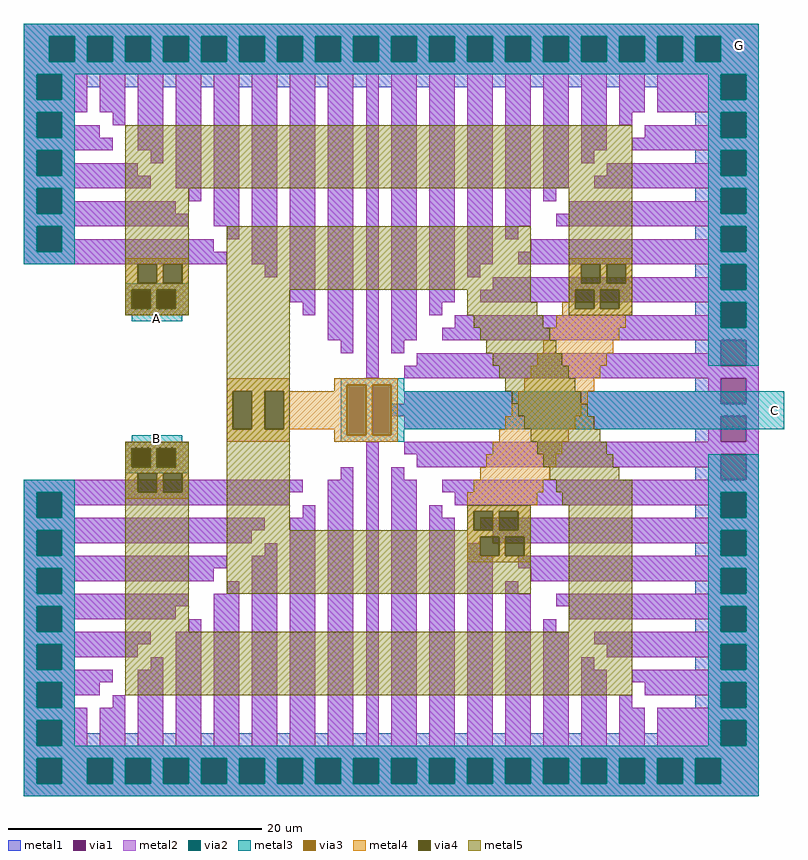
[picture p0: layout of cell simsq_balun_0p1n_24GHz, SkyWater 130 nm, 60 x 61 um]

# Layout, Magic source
magic
tech sky130B
<< metal1 >>
rect -1000 4600 4800 4700
rect -1000 4400 -800 4600
rect -600 4400 -500 4600
rect -300 4400 -200 4600
rect 0 4400 100 4600
rect 300 4400 400 4600
rect 600 4400 700 4600
rect 900 4400 1000 4600
rect 1200 4400 1300 4600
rect 1500 4400 1600 4600
rect 1800 4400 1900 4600
rect 2100 4400 2200 4600
rect 2400 4400 2500 4600
rect 2700 4400 2800 4600
rect 3000 4400 3100 4600
rect 3300 4400 3400 4600
rect 3600 4400 3700 4600
rect 3900 4400 4000 4600
rect 4200 4400 4300 4600
rect 4500 4400 4800 4600
rect -1000 4300 4800 4400
rect -1000 4100 -900 4300
rect -700 4200 4500 4300
rect -700 4100 -500 4200
rect -1000 4000 -500 4100
rect -400 4000 -200 4200
rect -1000 3800 -900 4000
rect -700 3900 -600 4000
rect -300 3900 -200 4000
rect -700 3800 -400 3900
rect -1000 3700 -300 3800
rect -100 3700 100 4200
rect -1000 3500 -900 3700
rect -700 3600 -600 3700
rect 0 3600 100 3700
rect -700 3500 -100 3600
rect -1000 3400 0 3500
rect 200 3400 400 4200
rect -1000 3200 -900 3400
rect -700 3300 -600 3400
rect 300 3300 400 3400
rect -700 3200 200 3300
rect -1000 3100 300 3200
rect 500 3100 700 4200
rect -1000 2900 -900 3100
rect -700 3000 -600 3100
rect 600 3000 700 3100
rect -700 2900 500 3000
rect -1000 2800 600 2900
rect 800 2800 1000 4200
rect 900 2700 1000 2800
rect 1100 2500 1300 4200
rect 1200 2400 1300 2500
rect 1400 2200 1600 4200
rect 1500 2100 1600 2200
rect 1700 1900 1800 4200
rect 1900 2200 2100 4200
rect 2200 2500 2400 4200
rect 2500 2800 2700 4200
rect 2800 3100 3000 4200
rect 3100 3400 3300 4200
rect 3400 3700 3600 4200
rect 3700 4000 3900 4200
rect 4000 4100 4500 4200
rect 4700 4100 4800 4300
rect 4000 4000 4800 4100
rect 3700 3900 3800 4000
rect 4300 3900 4500 4000
rect 3900 3800 4500 3900
rect 4700 3800 4800 4000
rect 3800 3700 4800 3800
rect 3400 3600 3500 3700
rect 4300 3600 4500 3700
rect 3600 3500 4500 3600
rect 4700 3500 4800 3700
rect 3500 3400 4800 3500
rect 3100 3300 3200 3400
rect 4300 3300 4500 3400
rect 3300 3200 4500 3300
rect 4700 3200 4800 3400
rect 3200 3100 4800 3200
rect 2800 3000 2900 3100
rect 4300 3000 4500 3100
rect 3000 2900 4500 3000
rect 4700 2900 4800 3100
rect 2900 2800 4800 2900
rect 2500 2700 2600 2800
rect 4300 2700 4500 2800
rect 2700 2600 4500 2700
rect 4700 2600 4800 2800
rect 2600 2500 4800 2600
rect 2200 2400 2300 2500
rect 4300 2400 4500 2500
rect 2400 2300 4500 2400
rect 4700 2300 4800 2500
rect 2300 2200 4800 2300
rect 1900 2100 2000 2200
rect 4300 2100 4500 2200
rect 2100 2000 4500 2100
rect 4700 2000 4800 2200
rect 2000 1900 4800 2000
rect 4300 1800 4500 1900
rect 2000 1700 4500 1800
rect 4700 1700 4800 1900
rect 1900 1600 4800 1700
rect 2000 1500 4500 1600
rect 4300 1400 4500 1500
rect 4700 1400 4800 1600
rect 1500 1100 1600 1200
rect -1000 1000 1200 1100
rect -1000 800 -900 1000
rect -700 900 1100 1000
rect -700 800 -600 900
rect 1200 800 1300 900
rect -1000 700 900 800
rect -1000 500 -900 700
rect -700 600 800 700
rect -700 500 -600 600
rect 900 500 1000 600
rect -1000 400 600 500
rect -1000 200 -900 400
rect -700 300 500 400
rect -700 200 -600 300
rect 600 200 700 300
rect -1000 100 300 200
rect -1000 -100 -900 100
rect -700 0 200 100
rect -700 -100 -600 0
rect 300 -100 400 0
rect -1000 -200 0 -100
rect -1000 -400 -900 -200
rect -700 -300 -100 -200
rect -700 -400 -600 -300
rect 0 -400 100 -300
rect -1000 -500 -300 -400
rect -1000 -700 -900 -500
rect -700 -600 -400 -500
rect -700 -700 -600 -600
rect -300 -700 -200 -600
rect -1000 -800 -500 -700
rect -1000 -1000 -900 -800
rect -700 -900 -500 -800
rect -400 -900 -200 -700
rect -100 -900 100 -400
rect 200 -900 400 -100
rect 500 -900 700 200
rect 800 -900 1000 500
rect 1100 -900 1300 800
rect 1400 -900 1600 1100
rect 1700 -900 1800 1400
rect 2000 1300 4800 1400
rect 2100 1200 4500 1300
rect 1900 1100 2000 1200
rect 4300 1100 4500 1200
rect 4700 1100 4800 1300
rect 1900 -900 2100 1100
rect 2300 1000 4800 1100
rect 2400 900 4500 1000
rect 2200 800 2300 900
rect 4300 800 4500 900
rect 4700 800 4800 1000
rect 2200 -900 2400 800
rect 2600 700 4800 800
rect 2700 600 4500 700
rect 2500 500 2600 600
rect 4300 500 4500 600
rect 4700 500 4800 700
rect 2500 -900 2700 500
rect 2900 400 4800 500
rect 3000 300 4500 400
rect 2800 200 2900 300
rect 4300 200 4500 300
rect 4700 200 4800 400
rect 2800 -900 3000 200
rect 3200 100 4800 200
rect 3300 0 4500 100
rect 3100 -100 3200 0
rect 4300 -100 4500 0
rect 4700 -100 4800 100
rect 3100 -900 3300 -100
rect 3500 -200 4800 -100
rect 3600 -300 4500 -200
rect 3400 -400 3500 -300
rect 4300 -400 4500 -300
rect 4700 -400 4800 -200
rect 3400 -900 3600 -400
rect 3800 -500 4800 -400
rect 3900 -600 4500 -500
rect 3700 -700 3800 -600
rect 4300 -700 4500 -600
rect 4700 -700 4800 -500
rect 3700 -900 3900 -700
rect 4000 -800 4800 -700
rect 4000 -900 4500 -800
rect -700 -1000 4500 -900
rect 4700 -1000 4800 -800
rect -1000 -1100 4800 -1000
rect -1000 -1300 -900 -1100
rect -700 -1300 -500 -1100
rect -300 -1300 -200 -1100
rect 0 -1300 100 -1100
rect 300 -1300 400 -1100
rect 600 -1300 700 -1100
rect 900 -1300 1000 -1100
rect 1200 -1300 1300 -1100
rect 1500 -1300 1600 -1100
rect 1800 -1300 1900 -1100
rect 2100 -1300 2200 -1100
rect 2400 -1300 2500 -1100
rect 2700 -1300 2800 -1100
rect 3000 -1300 3100 -1100
rect 3300 -1300 3400 -1100
rect 3600 -1300 3700 -1100
rect 3900 -1300 4000 -1100
rect 4200 -1300 4300 -1100
rect 4500 -1300 4800 -1100
rect -1000 -1400 4800 -1300
<< via1 >>
rect -800 4400 -600 4600
rect -500 4400 -300 4600
rect -200 4400 0 4600
rect 100 4400 300 4600
rect 400 4400 600 4600
rect 700 4400 900 4600
rect 1000 4400 1200 4600
rect 1300 4400 1500 4600
rect 1600 4400 1800 4600
rect 1900 4400 2100 4600
rect 2200 4400 2400 4600
rect 2500 4400 2700 4600
rect 2800 4400 3000 4600
rect 3100 4400 3300 4600
rect 3400 4400 3600 4600
rect 3700 4400 3900 4600
rect 4000 4400 4200 4600
rect 4300 4400 4500 4600
rect -900 4100 -700 4300
rect -900 3800 -700 4000
rect -900 3500 -700 3700
rect -900 3200 -700 3400
rect -900 2900 -700 3100
rect 4500 4100 4700 4300
rect 4500 3800 4700 4000
rect 4500 3500 4700 3700
rect 4500 3200 4700 3400
rect 4500 2900 4700 3100
rect 4500 2600 4700 2800
rect 4500 2300 4700 2500
rect 4500 2000 4700 2200
rect 4500 1700 4700 1900
rect 4500 1400 4700 1600
rect -900 800 -700 1000
rect -900 500 -700 700
rect -900 200 -700 400
rect -900 -100 -700 100
rect -900 -400 -700 -200
rect -900 -700 -700 -500
rect -900 -1000 -700 -800
rect 4500 1100 4700 1300
rect 4500 800 4700 1000
rect 4500 500 4700 700
rect 4500 200 4700 400
rect 4500 -100 4700 100
rect 4500 -400 4700 -200
rect 4500 -700 4700 -500
rect 4500 -1000 4700 -800
rect -900 -1300 -700 -1100
rect -500 -1300 -300 -1100
rect -200 -1300 0 -1100
rect 100 -1300 300 -1100
rect 400 -1300 600 -1100
rect 700 -1300 900 -1100
rect 1000 -1300 1200 -1100
rect 1300 -1300 1500 -1100
rect 1600 -1300 1800 -1100
rect 1900 -1300 2100 -1100
rect 2200 -1300 2400 -1100
rect 2500 -1300 2700 -1100
rect 2800 -1300 3000 -1100
rect 3100 -1300 3300 -1100
rect 3400 -1300 3600 -1100
rect 3700 -1300 3900 -1100
rect 4000 -1300 4200 -1100
rect 4300 -1300 4500 -1100
<< metal2 >>
rect -1000 4600 4800 4700
rect -1000 4400 -800 4600
rect -600 4400 -500 4600
rect -300 4400 -200 4600
rect 0 4400 100 4600
rect 300 4400 400 4600
rect 600 4400 700 4600
rect 900 4400 1000 4600
rect 1200 4400 1300 4600
rect 1500 4400 1600 4600
rect 1800 4400 1900 4600
rect 2100 4400 2200 4600
rect 2400 4400 2500 4600
rect 2700 4400 2800 4600
rect 3000 4400 3100 4600
rect 3300 4400 3400 4600
rect 3600 4400 3700 4600
rect 3900 4400 4000 4600
rect 4200 4400 4300 4600
rect 4500 4400 4800 4600
rect -1000 4300 4800 4400
rect -1000 4100 -900 4300
rect -700 4100 -500 4300
rect -1000 4000 -500 4100
rect -400 4000 -200 4300
rect -1000 3800 -900 4000
rect -700 3900 -600 4000
rect -300 3900 -200 4000
rect -700 3800 -400 3900
rect -1000 3700 -300 3800
rect -100 3700 100 4300
rect -1000 3500 -900 3700
rect -700 3600 -600 3700
rect 0 3600 100 3700
rect -700 3500 -100 3600
rect -1000 3400 0 3500
rect 200 3400 400 4300
rect -1000 3200 -900 3400
rect -700 3300 -600 3400
rect 300 3300 400 3400
rect -700 3200 200 3300
rect -1000 3100 300 3200
rect 500 3100 700 4300
rect -1000 2900 -900 3100
rect -700 3000 -600 3100
rect 600 3000 700 3100
rect -700 2900 500 3000
rect -1000 2800 600 2900
rect 800 2800 1000 4300
rect 900 2700 1000 2800
rect 1100 2500 1300 4300
rect 1200 2400 1300 2500
rect 1400 2200 1600 4300
rect 1500 2100 1600 2200
rect 1700 1900 1800 4300
rect 1900 2200 2100 4300
rect 2200 2500 2400 4300
rect 2500 2800 2700 4300
rect 2800 3100 3000 4300
rect 3100 3400 3300 4300
rect 3400 3700 3600 4300
rect 3700 4000 3900 4300
rect 4000 4100 4500 4300
rect 4700 4100 4800 4300
rect 4000 4000 4800 4100
rect 3700 3900 3800 4000
rect 4400 3900 4500 4000
rect 3900 3800 4500 3900
rect 4700 3800 4800 4000
rect 3800 3700 4800 3800
rect 3400 3600 3500 3700
rect 4400 3600 4500 3700
rect 3600 3500 4500 3600
rect 4700 3500 4800 3700
rect 3500 3400 4800 3500
rect 3100 3300 3200 3400
rect 4400 3300 4500 3400
rect 3300 3200 4500 3300
rect 4700 3200 4800 3400
rect 3200 3100 4800 3200
rect 2800 3000 2900 3100
rect 4400 3000 4500 3100
rect 3000 2900 4500 3000
rect 4700 2900 4800 3100
rect 2900 2800 4800 2900
rect 2500 2700 2600 2800
rect 4400 2700 4500 2800
rect 2700 2600 4500 2700
rect 4700 2600 4800 2800
rect 2600 2500 4800 2600
rect 2200 2400 2300 2500
rect 4400 2400 4500 2500
rect 2400 2300 4500 2400
rect 4700 2300 4800 2500
rect 2300 2200 4800 2300
rect 1900 2100 2000 2200
rect 4400 2100 4500 2200
rect 2100 2000 4500 2100
rect 4700 2000 4800 2200
rect 2000 1900 4800 2000
rect 4400 1800 4500 1900
rect 2000 1700 4500 1800
rect 4700 1700 4800 1900
rect 1900 1600 4800 1700
rect 2000 1500 4500 1600
rect 4400 1400 4500 1500
rect 4700 1400 4800 1600
rect 1500 1100 1600 1200
rect -1000 1000 1200 1100
rect -1000 800 -900 1000
rect -700 900 1100 1000
rect -700 800 -600 900
rect 1200 800 1300 900
rect -1000 700 900 800
rect -1000 500 -900 700
rect -700 600 800 700
rect -700 500 -600 600
rect 900 500 1000 600
rect -1000 400 600 500
rect -1000 200 -900 400
rect -700 300 500 400
rect -700 200 -600 300
rect 600 200 700 300
rect -1000 100 300 200
rect -1000 -100 -900 100
rect -700 0 200 100
rect -700 -100 -600 0
rect 300 -100 400 0
rect -1000 -200 0 -100
rect -1000 -400 -900 -200
rect -700 -300 -100 -200
rect -700 -400 -600 -300
rect 0 -400 100 -300
rect -1000 -500 -300 -400
rect -1000 -700 -900 -500
rect -700 -600 -400 -500
rect -700 -700 -600 -600
rect -300 -700 -200 -600
rect -1000 -800 -500 -700
rect -1000 -1000 -900 -800
rect -700 -1000 -500 -800
rect -400 -1000 -200 -700
rect -100 -1000 100 -400
rect 200 -1000 400 -100
rect 500 -1000 700 200
rect 800 -1000 1000 500
rect 1100 -1000 1300 800
rect 1400 -1000 1600 1100
rect 1700 -1000 1800 1400
rect 2000 1300 4800 1400
rect 2100 1200 4500 1300
rect 1900 1100 2000 1200
rect 4400 1100 4500 1200
rect 4700 1100 4800 1300
rect 1900 -1000 2100 1100
rect 2300 1000 4800 1100
rect 2400 900 4500 1000
rect 2200 800 2300 900
rect 4400 800 4500 900
rect 4700 800 4800 1000
rect 2200 -1000 2400 800
rect 2600 700 4800 800
rect 2700 600 4500 700
rect 2500 500 2600 600
rect 4400 500 4500 600
rect 4700 500 4800 700
rect 2500 -1000 2700 500
rect 2900 400 4800 500
rect 3000 300 4500 400
rect 2800 200 2900 300
rect 4400 200 4500 300
rect 4700 200 4800 400
rect 2800 -1000 3000 200
rect 3200 100 4800 200
rect 3300 0 4500 100
rect 3100 -100 3200 0
rect 4400 -100 4500 0
rect 4700 -100 4800 100
rect 3100 -1000 3300 -100
rect 3500 -200 4800 -100
rect 3600 -300 4500 -200
rect 3400 -400 3500 -300
rect 4400 -400 4500 -300
rect 4700 -400 4800 -200
rect 3400 -1000 3600 -400
rect 3800 -500 4800 -400
rect 3900 -600 4500 -500
rect 3700 -700 3800 -600
rect 4400 -700 4500 -600
rect 4700 -700 4800 -500
rect 3700 -1000 3900 -700
rect 4000 -800 4800 -700
rect 4000 -1000 4500 -800
rect 4700 -1000 4800 -800
rect -1000 -1100 4800 -1000
rect -1000 -1300 -900 -1100
rect -700 -1300 -500 -1100
rect -300 -1300 -200 -1100
rect 0 -1300 100 -1100
rect 300 -1300 400 -1100
rect 600 -1300 700 -1100
rect 900 -1300 1000 -1100
rect 1200 -1300 1300 -1100
rect 1500 -1300 1600 -1100
rect 1800 -1300 1900 -1100
rect 2100 -1300 2200 -1100
rect 2400 -1300 2500 -1100
rect 2700 -1300 2800 -1100
rect 3000 -1300 3100 -1100
rect 3300 -1300 3400 -1100
rect 3600 -1300 3700 -1100
rect 3900 -1300 4000 -1100
rect 4200 -1300 4300 -1100
rect 4500 -1300 4800 -1100
rect -1000 -1400 4800 -1300
<< via2 >>
rect -800 4400 -600 4600
rect -500 4400 -300 4600
rect -200 4400 0 4600
rect 100 4400 300 4600
rect 400 4400 600 4600
rect 700 4400 900 4600
rect 1000 4400 1200 4600
rect 1300 4400 1500 4600
rect 1600 4400 1800 4600
rect 1900 4400 2100 4600
rect 2200 4400 2400 4600
rect 2500 4400 2700 4600
rect 2800 4400 3000 4600
rect 3100 4400 3300 4600
rect 3400 4400 3600 4600
rect 3700 4400 3900 4600
rect 4000 4400 4200 4600
rect 4300 4400 4500 4600
rect -900 4100 -700 4300
rect -900 3800 -700 4000
rect -900 3500 -700 3700
rect -900 3200 -700 3400
rect -900 2900 -700 3100
rect 4500 4100 4700 4300
rect 4500 3800 4700 4000
rect 4500 3500 4700 3700
rect 4500 3200 4700 3400
rect 4500 2900 4700 3100
rect 4500 2600 4700 2800
rect 4500 2300 4700 2500
rect -900 800 -700 1000
rect -900 500 -700 700
rect -900 200 -700 400
rect -900 -100 -700 100
rect -900 -400 -700 -200
rect -900 -700 -700 -500
rect -900 -1000 -700 -800
rect 4500 800 4700 1000
rect 4500 500 4700 700
rect 4500 200 4700 400
rect 4500 -100 4700 100
rect 4500 -400 4700 -200
rect 4500 -700 4700 -500
rect 4500 -1000 4700 -800
rect -900 -1300 -700 -1100
rect -500 -1300 -300 -1100
rect -200 -1300 0 -1100
rect 100 -1300 300 -1100
rect 400 -1300 600 -1100
rect 700 -1300 900 -1100
rect 1000 -1300 1200 -1100
rect 1300 -1300 1500 -1100
rect 1600 -1300 1800 -1100
rect 1900 -1300 2100 -1100
rect 2200 -1300 2400 -1100
rect 2500 -1300 2700 -1100
rect 2800 -1300 3000 -1100
rect 3100 -1300 3300 -1100
rect 3400 -1300 3600 -1100
rect 3700 -1300 3900 -1100
rect 4000 -1300 4200 -1100
rect 4300 -1300 4500 -1100
<< metal3 >>
rect -1000 4600 4800 4700
rect -1000 4400 -800 4600
rect -600 4400 -500 4600
rect -300 4400 -200 4600
rect 0 4400 100 4600
rect 300 4400 400 4600
rect 600 4400 700 4600
rect 900 4400 1000 4600
rect 1200 4400 1300 4600
rect 1500 4400 1600 4600
rect 1800 4400 1900 4600
rect 2100 4400 2200 4600
rect 2400 4400 2500 4600
rect 2700 4400 2800 4600
rect 3000 4400 3100 4600
rect 3300 4400 3400 4600
rect 3600 4400 3700 4600
rect 3900 4400 4000 4600
rect 4200 4400 4300 4600
rect 4500 4400 4800 4600
rect -1000 4300 4800 4400
rect -1000 4100 -900 4300
rect -700 4100 -600 4300
rect -1000 4000 -600 4100
rect -1000 3800 -900 4000
rect -700 3800 -600 4000
rect -1000 3700 -600 3800
rect -1000 3500 -900 3700
rect -700 3500 -600 3700
rect -1000 3400 -600 3500
rect -1000 3200 -900 3400
rect -700 3200 -600 3400
rect -1000 3100 -600 3200
rect -1000 2900 -900 3100
rect -700 2900 -600 3100
rect -1000 2800 -600 2900
rect 4400 4100 4500 4300
rect 4700 4100 4800 4300
rect 4400 4000 4800 4100
rect 4400 3800 4500 4000
rect 4700 3800 4800 4000
rect 4400 3700 4800 3800
rect 4400 3500 4500 3700
rect 4700 3500 4800 3700
rect 4400 3400 4800 3500
rect 4400 3200 4500 3400
rect 4700 3200 4800 3400
rect 4400 3100 4800 3200
rect 4400 2900 4500 3100
rect 4700 2900 4800 3100
rect 4400 2800 4800 2900
rect -200 2600 300 2650
rect -200 2450 -150 2600
rect 0 2450 50 2600
rect 200 2450 300 2600
rect -200 2400 300 2450
rect 4400 2600 4500 2800
rect 4700 2600 4800 2800
rect 4400 2500 4800 2600
rect -150 2350 250 2400
rect 4400 2300 4500 2500
rect 4700 2300 4800 2500
rect 4400 2000 4800 2300
rect 1500 1850 2000 1900
rect 1500 1450 1550 1850
rect 1700 1450 1750 1850
rect 1900 1800 2000 1850
rect 1900 1500 5000 1800
rect 1900 1450 2000 1500
rect -150 1400 250 1450
rect 1500 1400 2000 1450
rect -200 1350 300 1400
rect -200 1200 -150 1350
rect 0 1200 50 1350
rect 200 1200 300 1350
rect -200 1150 300 1200
rect -1000 1000 -600 1100
rect -1000 800 -900 1000
rect -700 800 -600 1000
rect -1000 700 -600 800
rect -1000 500 -900 700
rect -700 500 -600 700
rect -1000 400 -600 500
rect -1000 200 -900 400
rect -700 200 -600 400
rect -1000 100 -600 200
rect -1000 -100 -900 100
rect -700 -100 -600 100
rect -1000 -200 -600 -100
rect -1000 -400 -900 -200
rect -700 -400 -600 -200
rect -1000 -500 -600 -400
rect -1000 -700 -900 -500
rect -700 -700 -600 -500
rect -1000 -800 -600 -700
rect -1000 -1000 -900 -800
rect -700 -1000 -600 -800
rect 4400 1000 4800 1300
rect 4400 800 4500 1000
rect 4700 800 4800 1000
rect 4400 700 4800 800
rect 4400 500 4500 700
rect 4700 500 4800 700
rect 4400 400 4800 500
rect 4400 200 4500 400
rect 4700 200 4800 400
rect 4400 100 4800 200
rect 4400 -100 4500 100
rect 4700 -100 4800 100
rect 4400 -200 4800 -100
rect 4400 -400 4500 -200
rect 4700 -400 4800 -200
rect 4400 -500 4800 -400
rect 4400 -700 4500 -500
rect 4700 -700 4800 -500
rect 4400 -800 4800 -700
rect 4400 -1000 4500 -800
rect 4700 -1000 4800 -800
rect -1000 -1100 4800 -1000
rect -1000 -1300 -900 -1100
rect -700 -1300 -500 -1100
rect -300 -1300 -200 -1100
rect 0 -1300 100 -1100
rect 300 -1300 400 -1100
rect 600 -1300 700 -1100
rect 900 -1300 1000 -1100
rect 1200 -1300 1300 -1100
rect 1500 -1300 1600 -1100
rect 1800 -1300 1900 -1100
rect 2100 -1300 2200 -1100
rect 2400 -1300 2500 -1100
rect 2700 -1300 2800 -1100
rect 3000 -1300 3100 -1100
rect 3300 -1300 3400 -1100
rect 3600 -1300 3700 -1100
rect 3900 -1300 4000 -1100
rect 4200 -1300 4300 -1100
rect 4500 -1300 4800 -1100
rect -1000 -1400 4800 -1300
<< via3 >>
rect -150 2450 0 2600
rect 50 2450 200 2600
rect 1550 1450 1700 1850
rect 1750 1450 1900 1850
rect -150 1200 0 1350
rect 50 1200 200 1350
<< metal4 >>
rect -200 2800 300 2850
rect -200 2650 -100 2800
rect 50 2650 100 2800
rect 250 2650 300 2800
rect -200 2600 300 2650
rect -200 2450 -150 2600
rect 0 2450 50 2600
rect 200 2450 300 2600
rect 3300 2800 3800 2850
rect 3300 2650 3400 2800
rect 3550 2650 3600 2800
rect 3750 2650 3800 2800
rect 3300 2600 3800 2650
rect 3300 2500 3350 2600
rect -200 2400 300 2450
rect 3250 2450 3350 2500
rect 3500 2450 3550 2600
rect 3700 2450 3800 2600
rect 3250 2400 3800 2450
rect 3200 2300 3750 2400
rect 3150 2200 3700 2300
rect 3100 2100 3650 2200
rect 3050 2000 3600 2100
rect 3000 1900 3550 2000
rect 600 1800 1100 1900
rect 1450 1850 1950 1900
rect 1450 1800 1550 1850
rect 600 1500 650 1800
rect 800 1500 900 1800
rect 1050 1500 1550 1800
rect 600 1400 1100 1500
rect 1450 1450 1550 1500
rect 1700 1450 1750 1850
rect 1900 1450 1950 1850
rect 2950 1800 3500 1900
rect 2900 1700 3450 1800
rect 2850 1600 3400 1700
rect 2800 1500 3350 1600
rect 1450 1400 1950 1450
rect 2750 1400 3300 1500
rect -200 1350 300 1400
rect -200 1200 -150 1350
rect 0 1200 50 1350
rect 200 1200 300 1350
rect 2700 1300 3250 1400
rect 2650 1200 3200 1300
rect -200 1150 300 1200
rect -200 1000 -100 1150
rect 50 1000 100 1150
rect 250 1000 300 1150
rect 2600 1100 3150 1200
rect 2550 1000 3100 1100
rect -200 950 300 1000
rect 2500 900 3050 1000
rect 2500 850 3000 900
rect 2500 700 2550 850
rect 2700 700 2750 850
rect 2900 700 3000 850
rect 2500 650 3000 700
rect 2500 500 2600 650
rect 2750 500 2800 650
rect 2950 500 3000 650
rect 2500 450 3000 500
<< via4 >>
rect -100 2650 50 2800
rect 100 2650 250 2800
rect -150 2450 0 2600
rect 50 2450 200 2600
rect 3400 2650 3550 2800
rect 3600 2650 3750 2800
rect 3350 2450 3500 2600
rect 3550 2450 3700 2600
rect 650 1500 800 1800
rect 900 1500 1050 1800
rect -150 1200 0 1350
rect 50 1200 200 1350
rect -100 1000 50 1150
rect 100 1000 250 1150
rect 2550 700 2700 850
rect 2750 700 2900 850
rect 2600 500 2750 650
rect 2800 500 2950 650
<< metal5 >>
rect -200 3400 3800 3900
rect -200 2800 300 3400
rect -200 2650 -100 2800
rect 50 2650 100 2800
rect 250 2650 300 2800
rect -200 2600 300 2650
rect -200 2450 -150 2600
rect 0 2450 50 2600
rect 200 2450 300 2600
rect -200 2400 300 2450
rect 600 2600 3000 3100
rect 600 1800 1100 2600
rect 2500 2500 3000 2600
rect 3300 2800 3800 3400
rect 3300 2650 3400 2800
rect 3550 2650 3600 2800
rect 3750 2650 3800 2800
rect 3300 2600 3800 2650
rect 2500 2400 3050 2500
rect 3300 2450 3350 2600
rect 3500 2450 3550 2600
rect 3700 2450 3800 2600
rect 3300 2400 3800 2450
rect 2550 2300 3100 2400
rect 2600 2200 3150 2300
rect 2650 2100 3200 2200
rect 2700 2000 3250 2100
rect 2750 1900 3300 2000
rect 2800 1800 3350 1900
rect 600 1500 650 1800
rect 800 1500 900 1800
rect 1050 1500 1100 1800
rect 2850 1700 3400 1800
rect 2900 1600 3450 1700
rect 2950 1500 3500 1600
rect -200 1350 300 1400
rect -200 1200 -150 1350
rect 0 1200 50 1350
rect 200 1200 300 1350
rect -200 1150 300 1200
rect -200 1000 -100 1150
rect 50 1000 100 1150
rect 250 1000 300 1150
rect -200 -100 300 1000
rect 600 700 1100 1500
rect 3000 1400 3550 1500
rect 3050 1300 3600 1400
rect 3100 1200 3650 1300
rect 3150 1100 3700 1200
rect 3200 1000 3800 1100
rect 3250 900 3800 1000
rect 2500 850 3000 900
rect 2500 700 2550 850
rect 2700 700 2750 850
rect 2900 700 3000 850
rect 600 650 3000 700
rect 600 500 2600 650
rect 2750 500 2800 650
rect 2950 500 3000 650
rect 600 200 3000 500
rect 3300 -100 3800 900
rect -200 -600 3800 -100
<< labels >>
rlabel metal3 -150 2350 250 2400 1 A
rlabel metal3 -150 1400 250 1450 1 B
rlabel metal3 4850 1500 5000 1800 1 C
rlabel metal3 4500 4350 4800 4700 1 G
<< end >>
